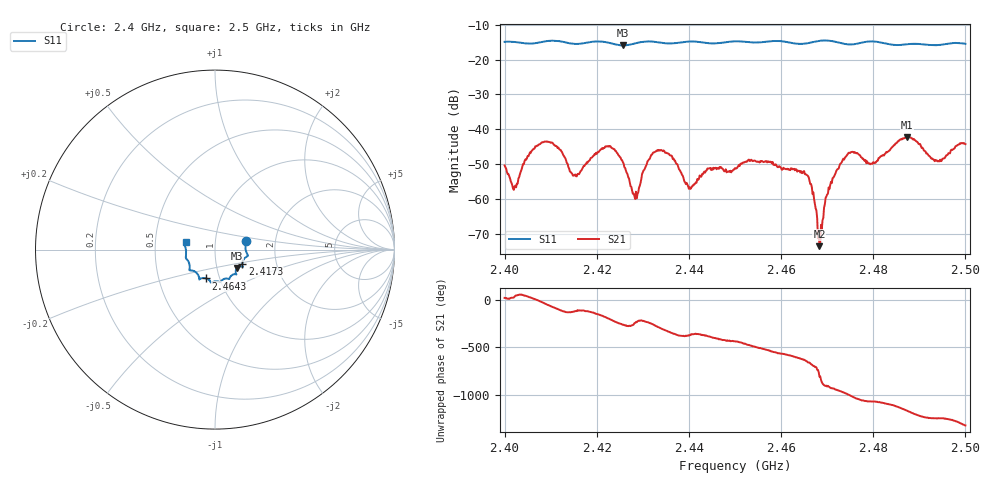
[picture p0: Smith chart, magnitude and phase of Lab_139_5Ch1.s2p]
# Hz S RI R 50
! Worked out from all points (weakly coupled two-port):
!   601 points, 2.4 GHz to 2.5 GHz, reference 50 ohm
!   highest |S21| = -42.27 dB at 2.4873 GHz (marker M1); lowest = -73.6 dB at 2.4683 GHz (marker M2)
!   lowest |S11| = -15.9 dB at 2.4257 GHz (marker M3), VSWR 1.38, Z = 62.5 - j13.1 ohm
!   |S11| at or under -10 dB: start of sweep to end of sweep
!   S12 and S22 are empty: the file has one direction only
!   S11 on the Smith chart (normalised r, x): 2.4 GHz: 1.41, +0.14; 2.4173 GHz: 1.34, -0.23; 2.4643 GHz: 0.86, -0.28; 2.5 GHz: 0.72, +0.06
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2.4e9  0.1733 0.0494  0.00288 0.00089  0 0  0 0
2.402333e9  0.1744 0.0395  0.00123 0.000951  0 0  0 0
2.4055e9  0.1698 0.00736  0.00426 0.00184  0 0  0 0
2.409167e9  0.1824 -0.0289  0.00414 -0.00525  0 0  0 0
2.414667e9  0.161 -0.0526  -0.00146 -0.00176  0 0  0 0
2.416667e9  0.1527 -0.075  -0.00109 -0.00232  0 0  0 0
2.417333e9  0.1521 -0.0823  -0.00136 -0.00264  0 0  0 0
2.422333e9  0.1496 -0.0936  -0.00553 0.00138  0 0  0 0
2.425667e9  0.1228 -0.1023  -0.000393 0.00333  0 0  0 0
2.4285e9  0.1156 -0.1279  -0.000741 0.00103  0 0  0 0
2.433333e9  0.1126 -0.1366  0.00158 0.0048  0 0  0 0
2.440167e9  0.0797 -0.1635  0.00144 -0.000294  0 0  0 0
2.45e9  0.0295 -0.1808  0.000717 -0.00267  0 0  0 0
2.464333e9  -0.0503 -0.1605  -0.000447 0.00246  0 0  0 0
2.466667e9  -0.0763 -0.1598  0.00113 0.000971  0 0  0 0
2.468333e9  -0.0861 -0.1651  1.66e-05 -0.000208  0 0  0 0
2.470333e9  -0.0872 -0.1656  -0.00145 0.0002  0 0  0 0
2.474e9  -0.0977 -0.1358  -0.000719 0.00395  0 0  0 0
2.483333e9  -0.141 -0.0897  0.00474 -0.000967  0 0  0 0
2.487333e9  -0.1574 -0.0543  0.00137 -0.00758  0 0  0 0
2.493833e9  -0.1615 -0.00312  -0.00334 -0.00123  0 0  0 0
2.5e9  -0.1635 0.0418  -0.0036 0.00495  0 0  0 0
